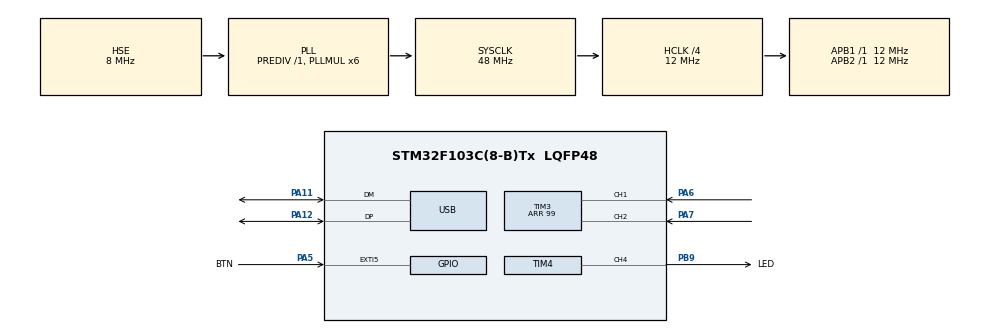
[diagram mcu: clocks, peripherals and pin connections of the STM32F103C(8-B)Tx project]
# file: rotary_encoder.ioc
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Mcu.Family=STM32F1
Mcu.Name=STM32F103C(8-B)Tx
Mcu.Package=LQFP48
NVIC.EXTI9_5_IRQn=true\:0\:0\:false\:false\:true\:true\:true\:true
NVIC.PriorityGroup=NVIC_PRIORITYGROUP_4
NVIC.TIM3_IRQn=true\:0\:0\:false\:false\:true\:true\:true\:true
NVIC.USB_LP_CAN1_RX0_IRQn=true\:0\:0\:false\:false\:true\:false\:true\:true
PA11.Mode=Device
PA11.Signal=USB_DM
PA12.Mode=Device
PA12.Signal=USB_DP
PA13.Mode=Serial_Wire
PA13.Signal=SYS_JTMS-SWDIO
PA14.Mode=Serial_Wire
PA14.Signal=SYS_JTCK-SWCLK
PA5.GPIO_Label=BTN
PA5.GPIO_ModeDefaultEXTI=GPIO_MODE_IT_FALLING
PA5.Signal=GPXTI5
PA6.Signal=S_TIM3_CH1
PA7.Signal=S_TIM3_CH2
PB9.GPIO_Label=LED
PB9.Signal=S_TIM4_CH4
PD0-OSC_IN.Mode=HSE-External-Oscillator
PD0-OSC_IN.Signal=RCC_OSC_IN
PD1-OSC_OUT.Mode=HSE-External-Oscillator
PD1-OSC_OUT.Signal=RCC_OSC_OUT
ProjectManager.HeapSize=0x200
ProjectManager.StackSize=0x400
ProjectManager.TargetToolchain=STM32CubeIDE
RCC.AHBCLKDivider=RCC_SYSCLK_DIV4
RCC.AHBFreq_Value=12000000
RCC.APB1Freq_Value=12000000
RCC.APB1TimFreq_Value=12000000
RCC.APB2Freq_Value=12000000
RCC.APB2TimFreq_Value=12000000
RCC.HCLKFreq_Value=12000000
RCC.PLLMUL=RCC_PLL_MUL6
RCC.PLLSourceVirtual=RCC_PLLSOURCE_HSE
RCC.SYSCLKFreq_VALUE=48000000
RCC.SYSCLKSource=RCC_SYSCLKSOURCE_PLLCLK
RCC.USBFreq_Value=48000000
SH.S_TIM3_CH1.0=TIM3_CH1,Encoder_Interface
SH.S_TIM3_CH2.0=TIM3_CH2,Encoder_Interface
SH.S_TIM4_CH4.0=TIM4_CH4,PWM Generation4 CH4
TIM3.EncoderMode=TIM_ENCODERMODE_TI1
TIM3.IC1Polarity=TIM_ICPOLARITY_RISING
TIM3.IC2Polarity=TIM_ICPOLARITY_RISING
TIM3.Period=99
TIM4.Channel-PWM\ Generation4\ CH4=TIM_CHANNEL_4
TIM4.OCPolarity_4=TIM_OCPOLARITY_LOW
TIM4.Period=99
TIM4.Prescaler=719
TIM4.Pulse-PWM\ Generation4\ CH4=0
USB_DEVICE.CLASS_NAME_FS=CDC
USB_DEVICE.VirtualMode=Cdc
USB_DEVICE.VirtualModeFS=Cdc_FS
VP_TIM4_VS_ClockSourceINT.Mode=Internal
VP_USB_DEVICE_VS_USB_DEVICE_CDC_FS.Mode=CDC_FS
board=custom

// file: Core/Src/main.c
/* USER CODE BEGIN Header */
/**
 ******************************************************************************
 * @file           : main.c
 * @brief          : Main program body
 ******************************************************************************
 * @attention
 *
 * <h2><center>&copy; Copyright (c) 2021 STMicroelectronics.
 * All rights reserved.</center></h2>
 *
 * This software component is licensed by ST under BSD 3-Clause license,
 * the "License"; You may not use this file except in compliance with the
 * License. You may obtain a copy of the License at:
 *                        opensource.org/licenses/BSD-3-Clause
 *
 ******************************************************************************
 */
/* USER CODE END Header */
#include "main.h"
#include "usb_device.h"

TIM_HandleTypeDef htim3;
TIM_HandleTypeDef htim4;

/* USER CODE BEGIN PV */

uint32_t last_count = 0;

/* USER CODE END PV */

void SystemClock_Config(void);
static void MX_GPIO_Init(void);
static void MX_TIM3_Init(void);
static void MX_TIM4_Init(void);

/* USER CODE BEGIN 0 */

// Redirect printf to USB CDC
int _write(int file, char *ptr, int len) {
	CDC_Transmit_FS((uint8_t*) ptr, len);
	return len;
}

// Update PWM duty cycle to match rotary encoder counter
void update_counter() {
	TIM4->CCR4 = TIM3->CNT;
}

// Callback every second pulse
void HAL_TIM_IC_CaptureHalfCpltCallback(TIM_HandleTypeDef *htim) {
	if (htim->Instance == TIM3) {
		update_counter();
	}
}

// Callback every second pulse
void HAL_TIM_IC_CaptureCallback(TIM_HandleTypeDef *htim) {
	if (htim->Instance == TIM3) {
		update_counter();
	}
}

// External interrupt on button press - reset both counter and pwm duty cycle to 0
void HAL_GPIO_EXTI_Callback(uint16_t GPIO_Pin) {
	if (GPIO_Pin == BTN_Pin) {
		TIM3->CNT = 0;
		TIM4->CCR4 = 0; // Half on
	}
}

/* USER CODE END 0 */

int main(void)
{

  /* MCU Configuration--------------------------------------------------------*/

  /* Reset of all peripherals, Initializes the Flash interface and the Systick. */
  HAL_Init();

  /* Configure the system clock */
  SystemClock_Config();

  /* Initialize all configured peripherals */
  MX_GPIO_Init();
  MX_TIM3_Init();
  MX_TIM4_Init();
  MX_USB_DEVICE_Init();
  /* USER CODE BEGIN 2 */

  // Fire up PWM timer
  HAL_TIM_PWM_Start(&htim4, TIM_CHANNEL_4);

  // Start rotary encoder timer
  HAL_TIM_Encoder_Start_IT(&htim3, TIM_CHANNEL_ALL);

  /* USER CODE END 2 */

  /* Infinite loop */
  /* USER CODE BEGIN WHILE */

	uint32_t last_print = 0, now = 0;

	for (;;) {

		now = HAL_GetTick();
		if (now - last_print >= 1000) {
			DBG("Encoder counter = %lu", TIM3->CNT);
			last_print = now;
		}

    /* USER CODE END WHILE */

	}
}

void SystemClock_Config(void)
{
  RCC_OscInitTypeDef RCC_OscInitStruct = {0};
  RCC_ClkInitTypeDef RCC_ClkInitStruct = {0};
  RCC_PeriphCLKInitTypeDef PeriphClkInit = {0};

  /** Initializes the RCC Oscillators according to the specified parameters
  * in the RCC_OscInitTypeDef structure.
  */
  RCC_OscInitStruct.OscillatorType = RCC_OSCILLATORTYPE_HSE;
  RCC_OscInitStruct.HSEState = RCC_HSE_ON;
  RCC_OscInitStruct.HSEPredivValue = RCC_HSE_PREDIV_DIV1;
  RCC_OscInitStruct.HSIState = RCC_HSI_ON;
  RCC_OscInitStruct.PLL.PLLState = RCC_PLL_ON;
  RCC_OscInitStruct.PLL.PLLSource = RCC_PLLSOURCE_HSE;
  RCC_OscInitStruct.PLL.PLLMUL = RCC_PLL_MUL6;
  if (HAL_RCC_OscConfig(&RCC_OscInitStruct) != HAL_OK)
  {
    Error_Handler();
  }

  /** Initializes the CPU, AHB and APB buses clocks
  */
  RCC_ClkInitStruct.ClockType = RCC_CLOCKTYPE_HCLK|RCC_CLOCKTYPE_SYSCLK
                              |RCC_CLOCKTYPE_PCLK1|RCC_CLOCKTYPE_PCLK2;
  RCC_ClkInitStruct.SYSCLKSource = RCC_SYSCLKSOURCE_PLLCLK;
  RCC_ClkInitStruct.AHBCLKDivider = RCC_SYSCLK_DIV4;
  RCC_ClkInitStruct.APB1CLKDivider = RCC_HCLK_DIV1;
  RCC_ClkInitStruct.APB2CLKDivider = RCC_HCLK_DIV1;

  if (HAL_RCC_ClockConfig(&RCC_ClkInitStruct, FLASH_LATENCY_1) != HAL_OK)
  {
    Error_Handler();
  }
  PeriphClkInit.PeriphClockSelection = RCC_PERIPHCLK_USB;
  PeriphClkInit.UsbClockSelection = RCC_USBCLKSOURCE_PLL;
  if (HAL_RCCEx_PeriphCLKConfig(&PeriphClkInit) != HAL_OK)
  {
    Error_Handler();
  }
}

static void MX_TIM3_Init(void)
{

  TIM_Encoder_InitTypeDef sConfig = {0};
  TIM_MasterConfigTypeDef sMasterConfig = {0};

  htim3.Instance = TIM3;
  htim3.Init.Prescaler = 0;
  htim3.Init.CounterMode = TIM_COUNTERMODE_UP;
  htim3.Init.Period = 99;
  htim3.Init.ClockDivision = TIM_CLOCKDIVISION_DIV1;
  htim3.Init.AutoReloadPreload = TIM_AUTORELOAD_PRELOAD_DISABLE;
  sConfig.EncoderMode = TIM_ENCODERMODE_TI1;
  sConfig.IC1Polarity = TIM_ICPOLARITY_RISING;
  sConfig.IC1Selection = TIM_ICSELECTION_DIRECTTI;
  sConfig.IC1Prescaler = TIM_ICPSC_DIV1;
  sConfig.IC1Filter = 0;
  sConfig.IC2Polarity = TIM_ICPOLARITY_RISING;
  sConfig.IC2Selection = TIM_ICSELECTION_DIRECTTI;
  sConfig.IC2Prescaler = TIM_ICPSC_DIV1;
  sConfig.IC2Filter = 0;
  if (HAL_TIM_Encoder_Init(&htim3, &sConfig) != HAL_OK)
  {
    Error_Handler();
  }
  sMasterConfig.MasterOutputTrigger = TIM_TRGO_RESET;
  sMasterConfig.MasterSlaveMode = TIM_MASTERSLAVEMODE_DISABLE;
  if (HAL_TIMEx_MasterConfigSynchronization(&htim3, &sMasterConfig) != HAL_OK)
  {
    Error_Handler();
  }

}

static void MX_TIM4_Init(void)
{

  TIM_ClockConfigTypeDef sClockSourceConfig = {0};
  TIM_MasterConfigTypeDef sMasterConfig = {0};
  TIM_OC_InitTypeDef sConfigOC = {0};

  htim4.Instance = TIM4;
  htim4.Init.Prescaler = 719;
  htim4.Init.CounterMode = TIM_COUNTERMODE_UP;
  htim4.Init.Period = 99;
  htim4.Init.ClockDivision = TIM_CLOCKDIVISION_DIV1;
  htim4.Init.AutoReloadPreload = TIM_AUTORELOAD_PRELOAD_DISABLE;
  if (HAL_TIM_Base_Init(&htim4) != HAL_OK)
  {
    Error_Handler();
  }
  sClockSourceConfig.ClockSource = TIM_CLOCKSOURCE_INTERNAL;
  if (HAL_TIM_ConfigClockSource(&htim4, &sClockSourceConfig) != HAL_OK)
  {
    Error_Handler();
  }
  if (HAL_TIM_PWM_Init(&htim4) != HAL_OK)
  {
    Error_Handler();
  }
  sMasterConfig.MasterOutputTrigger = TIM_TRGO_RESET;
  sMasterConfig.MasterSlaveMode = TIM_MASTERSLAVEMODE_DISABLE;
  if (HAL_TIMEx_MasterConfigSynchronization(&htim4, &sMasterConfig) != HAL_OK)
  {
    Error_Handler();
  }
  sConfigOC.OCMode = TIM_OCMODE_PWM1;
  sConfigOC.Pulse = 0;
  sConfigOC.OCPolarity = TIM_OCPOLARITY_LOW;
  sConfigOC.OCFastMode = TIM_OCFAST_DISABLE;
  if (HAL_TIM_PWM_ConfigChannel(&htim4, &sConfigOC, TIM_CHANNEL_4) != HAL_OK)
  {
    Error_Handler();
  }
  HAL_TIM_MspPostInit(&htim4);

}

static void MX_GPIO_Init(void)
{
  GPIO_InitTypeDef GPIO_InitStruct = {0};

  /* GPIO Ports Clock Enable */
  __HAL_RCC_GPIOD_CLK_ENABLE();
  __HAL_RCC_GPIOA_CLK_ENABLE();
  __HAL_RCC_GPIOB_CLK_ENABLE();

  /*Configure GPIO pin : BTN_Pin */
  GPIO_InitStruct.Pin = BTN_Pin;
  GPIO_InitStruct.Mode = GPIO_MODE_IT_FALLING;
  GPIO_InitStruct.Pull = GPIO_NOPULL;
  HAL_GPIO_Init(BTN_GPIO_Port, &GPIO_InitStruct);

  /* EXTI interrupt init*/
  HAL_NVIC_SetPriority(EXTI9_5_IRQn, 0, 0);
  HAL_NVIC_EnableIRQ(EXTI9_5_IRQn);

}

void Error_Handler(void)
{
	__disable_irq();
	while (1) {
	}
}
